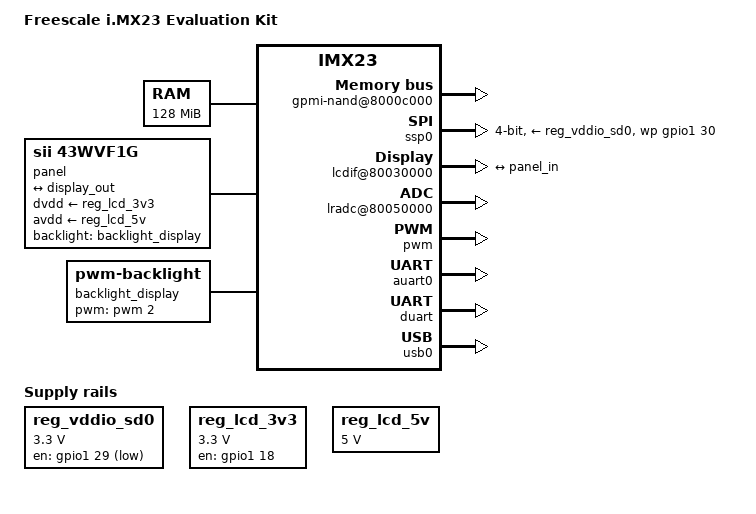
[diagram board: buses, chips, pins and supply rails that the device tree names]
// SPDX-License-Identifier: GPL-2.0+
//
// Copyright 2012 Freescale Semiconductor, Inc.

/dts-v1/;
#include "imx23.dtsi"

/ {
	model = "Freescale i.MX23 Evaluation Kit";
	compatible = "fsl,imx23-evk", "fsl,imx23";

	memory@40000000 {
		reg = <0x40000000 0x08000000>;
	};

	reg_vddio_sd0: regulator-vddio-sd0 {
		compatible = "regulator-fixed";
		regulator-name = "vddio-sd0";
		regulator-min-microvolt = <3300000>;
		regulator-max-microvolt = <3300000>;
		gpio = <&gpio1 29 0>;
	};

	reg_lcd_3v3: regulator-lcd-3v3 {
		compatible = "regulator-fixed";
		regulator-name = "lcd-3v3";
		regulator-min-microvolt = <3300000>;
		regulator-max-microvolt = <3300000>;
		gpio = <&gpio1 18 0>;
		enable-active-high;
	};

	reg_lcd_5v: regulator-lcd-5v {
		compatible = "regulator-fixed";
		regulator-name = "lcd-5v";
		regulator-min-microvolt = <5000000>;
		regulator-max-microvolt = <5000000>;
	};

	panel {
		compatible = "sii,43wvf1g";
		backlight = <&backlight_display>;
		dvdd-supply = <&reg_lcd_3v3>;
		avdd-supply = <&reg_lcd_5v>;

		port {
			panel_in: endpoint {
				remote-endpoint = <&display_out>;
			};
		};
	};

	apb@80000000 {
		apbh@80000000 {
			gpmi-nand@8000c000 {
				pinctrl-names = "default";
				pinctrl-0 = <&gpmi_pins_a &gpmi_pins_fixup>;
				status = "okay";
			};

			ssp0: ssp@80010000 {
				compatible = "fsl,imx23-mmc";
				pinctrl-names = "default";
				pinctrl-0 = <&mmc0_4bit_pins_a &mmc0_pins_fixup>;
				bus-width = <4>;
				wp-gpios = <&gpio1 30 0>;
				vmmc-supply = <&reg_vddio_sd0>;
				status = "okay";
			};

			pinctrl@80018000 {
				pinctrl-names = "default";
				pinctrl-0 = <&hog_pins_a>;

				hog_pins_a: hog@0 {
					reg = <0>;
					fsl,pinmux-ids = <
						MX23_PAD_LCD_RESET__GPIO_1_18
						MX23_PAD_PWM3__GPIO_1_29
						MX23_PAD_PWM4__GPIO_1_30
						MX23_PAD_SSP1_DETECT__SSP1_DETECT
					>;
					fsl,drive-strength = <MXS_DRIVE_4mA>;
					fsl,voltage = <MXS_VOLTAGE_HIGH>;
					fsl,pull-up = <MXS_PULL_DISABLE>;
				};
			};

			lcdif@80030000 {
				pinctrl-names = "default";
				pinctrl-0 = <&lcdif_24bit_pins_a>;
				status = "okay";

				port {
					display_out: endpoint {
						remote-endpoint = <&panel_in>;
					};
				};
			};
		};

		apbx@80040000 {
			lradc@80050000 {
				status = "okay";
				fsl,lradc-touchscreen-wires = <4>;
			};

			pwm: pwm@80064000 {
				pinctrl-names = "default";
				pinctrl-0 = <&pwm2_pins_a>;
				status = "okay";
			};

			auart0: serial@8006c000 {
				pinctrl-names = "default";
				pinctrl-0 = <&auart0_pins_a>;
				status = "okay";
			};

			duart: serial@80070000 {
				pinctrl-names = "default";
				pinctrl-0 = <&duart_pins_a>;
				status = "okay";
			};

			usbphy0: usbphy@8007c000 {
				status = "okay";
			};
		};
	};

	ahb@80080000 {
		usb0: usb@80080000 {
			status = "okay";
		};
	};

	backlight_display: backlight {
		compatible = "pwm-backlight";
		pwms = <&pwm 2 5000000>;
		brightness-levels = <0 4 8 16 32 64 128 255>;
		default-brightness-level = <6>;
	};
};
